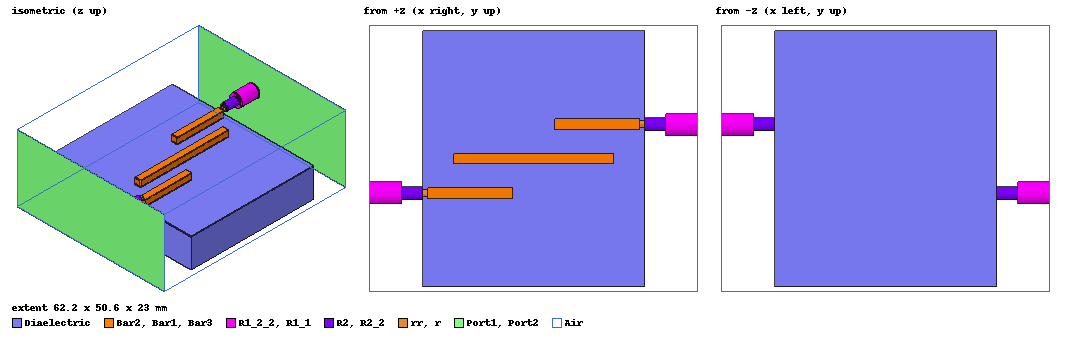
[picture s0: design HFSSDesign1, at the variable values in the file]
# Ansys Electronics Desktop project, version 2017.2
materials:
  vacuum: permittivity=1
  aluminum: permeability=1.000021 conductivity=38000000
  copper: permeability=0.999991 conductivity=58000000
  air: permittivity=1.0006 permeability=1.0000004
  Teflon (tm): permittivity=2.1 dielectric_loss_tangent=0.001
  titanium: permeability=1.00018 conductivity=1820000

design HFSSDesign1 (HFSS, DrivenModal, model units mm)
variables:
  a = 42.2mm
  b = 48.6mm
  Ld = 10mm
  Lth = 2mm
  La = 10mm
  Lr1 = 16.1mm
  Wr1 = 2mm
  Lr2 = 30.2mm
  Wr2 = 2mm
  Lr3 = 16.1mm
  Wr3 = 2mm
  Yr1 = 16.8mm
  Lp = 1mm
  Y12 = 4.5mm
  X12 = 11.1mm
  Y23 = 4.5mm
  r1 = 0.65mm
  Lju = 4mm
  R2 = 1.2mm
  R11 = 2.1mm
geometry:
  Diaelectric [Teflon (tm)] = box(corner=(0mm, 0mm, 0mm), size=(a, b, Ld))
  Air [air] = box(corner=(-10mm, -1mm, -1mm), size=(62.2mm, b+2mm, Lth+La+Ld+1mm))
  Bar1 [copper] = box(corner=(Lp, Yr1, Ld), size=(Lr1, Wr1, Lth))
  Bar2 [copper] = box(corner=(Lp+Lr1-X12, Yr1+Wr1+Y12, Ld), size=(Lr2, Wr2, Lth))
  Bar3 [copper] = box(corner=(a-Lr3-Lp, Yr1+Y12+Y23+Wr1+Wr2, Ld), size=(Lr3, Wr3, Lth))
  r1 = cylinder(axis=X, base_centre=(a-Lp, Yr1+Y12+Y23+Wr1+Wr2+(Wr3)/2, Ld+Lth), radius=r1, height=11mm)
  R2 [aluminum] = cylinder(axis=X, base_centre=(a-Lp+1mm, Yr1+Y12+Y23+Wr1+Wr2+(Wr3)/2, Ld+Lth), radius=R2, height=Lju)
  R3 = cylinder(axis=X, base_centre=(Lp+Lju+1mm, Yr1+Y12+Y23+Wr1+Wr2+(Wr3)/2, Ld+Lth), radius=r1, height=Lju)
  R2.subtract(R3)
  R1_1 [aluminum] = cylinder(axis=X, base_centre=(a+Lju, Yr1+Y12+Y23+Wr1+Wr2+(Wr3)/2, Ld+Lth), radius=R11, height=10mm-Lju)
  R1_2 = cylinder(axis=X, base_centre=(Lp+Lju+1mm, Yr1+Y12+Y23+Wr1+Wr2+(Wr3)/2, Ld+Lth), radius=r1, height=10mm-Lju)
  R1_1.subtract(R1_2)
  r [copper] = cylinder(axis=X, base_centre=(a-Lp, Yr1+Y12+Y23+Wr1+Wr2+(Wr3)/2, Ld+Lth), radius=r1, height=11mm)
  r1_3 = r1.copy()
  R1_1.subtract(r1_3)
  R2.subtract(r1)
  R2_2 [aluminum] = cylinder(axis=X, base_centre=(-Lju, Yr1+(Wr1)/2, Ld+Lth), radius=R2, height=Lju)
  R7 = cylinder(axis=X, base_centre=(Lp+Lju+1mm, Yr1+Y12+Y23+Wr1+Wr2+(Wr3)/2, Ld+Lth), radius=r1, height=Lju)
  R2_2.subtract(R7)
  r6 = cylinder(axis=X, base_centre=(a-Lp, Yr1+Y12+Y23+Wr1+Wr2+(Wr3)/2, Ld+Lth), radius=r1, height=11mm)
  r1_6 = r6.copy()
  R2_2.subtract(r6)
  R1_2_2 [aluminum] = cylinder(axis=X, base_centre=(-10mm, Yr1+(Wr1)/2, Ld+Lth), radius=R11, height=10mm-Lju)
  R1_5 = cylinder(axis=X, base_centre=(Lp+Lju+1mm, Yr1+Y12+Y23+Wr1+Wr2+(Wr3)/2, Ld+Lth), radius=r1, height=10mm-Lju)
  R1_2_2.subtract(R1_5)
  R1_2_2.subtract(r1_6)
  rr [copper] = cylinder(axis=X, base_centre=(-10mm, Yr1+(Wr1)/2, Ld+Lth), radius=r1, height=11mm)
  rr1 = cylinder(axis=X, base_centre=(-10mm, Yr1+(Wr1)/2, Ld+Lth), radius=r1, height=11mm)
  rr1_1 = rr1.copy()
  R1_2_2.subtract(rr1_1)
  R2_2.subtract(rr1)
  Port1 = rectangle(corner=(-10mm, 49.6mm, 22mm), y_size=-50.6mm, z_size=-23mm)
  Port2 = rectangle(corner=(52.2mm, -1mm, 22mm), y_size=50.6mm, z_size=-23mm)
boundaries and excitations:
  1: Wave Port Objects=Port1 NumModes=1 Modes{Mode1{CharImp=Zpi}}
  2: Wave Port Objects=Port2 NumModes=1 Modes{Mode1{CharImp=Zpi}}
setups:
  Setup1: HfssDriven Frequency=3.26GHz MaxDeltaS=0.02 MaximumPasses=6 MinimumPasses=1 MinimumConvergedPasses=1 PercentRefinement=30 BasisOrder=1 PortAccuracy=2 RayDensityPerWavelength=4 MaxNumberOfBounces=5 SkipSBRSolveDuringAdaptivePasses
    sweep Sweep: 1.5GHz to 5GHz, 451 points; Type=Interpolating InterpTolerance=0.5 InterpMaxSolns=250 InterpUsePortImped=false PassivityErrorTolerance=0.0001
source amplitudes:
  1:1: 1W 0deg
  2:1: 0W 0deg
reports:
  S Parameter Plot 1: dB(S(1,2)) vs Freq on Setup1 : Sweep [Y12=all Y23=all]
  S Parameter Plot 2: dB(S(1,2)) vs Freq on Setup1 : Sweep [Lth=all Y12=all Y23=all]
  S Parameter Plot 3: dB(S(1,2)) vs Freq on Setup1 : Sweep [Lth=all Y12=all Y23=all]
